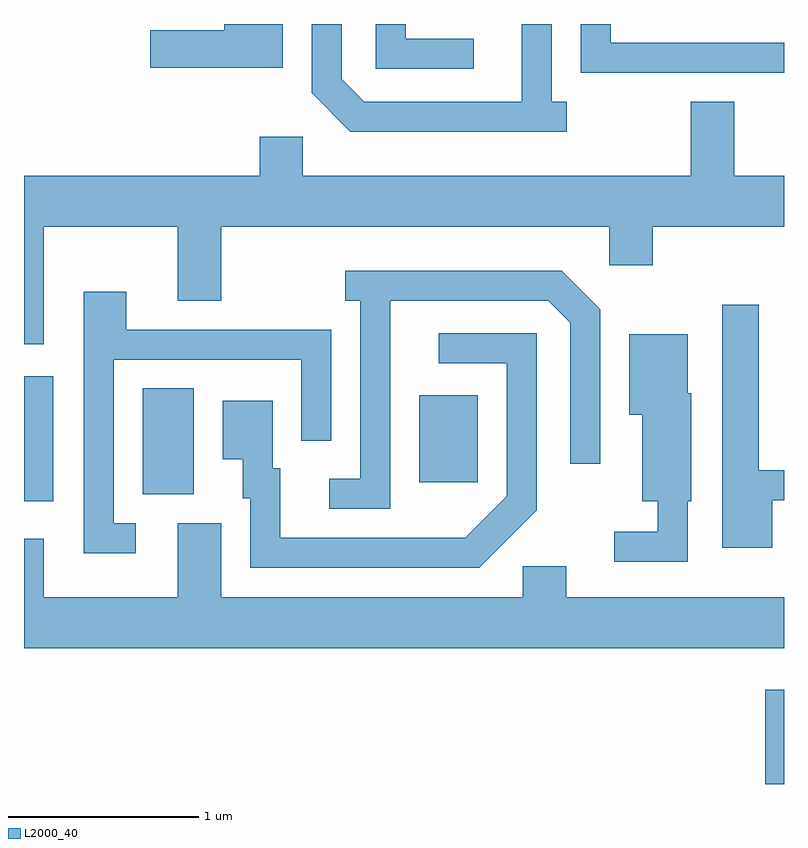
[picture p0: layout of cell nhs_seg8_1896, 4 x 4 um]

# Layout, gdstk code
import gdstk
lib = gdstk.Library(unit=1e-6, precision=1e-09)
def R(c, l, rs):  # rectangles x0, y0, x1, y1
    for r in rs: c.add(gdstk.rectangle(r[:2], r[2:], *l))
def P(c, l, *ps):  # polygons
    for p in ps: c.add(gdstk.Polygon(p, *l))
L2000_40 = (2000, 40)

nhs_seg8_1896 = lib.new_cell('nhs_seg8_1896')
R(nhs_seg8_1896, L2000_40, [(245.511,1862.342,245.611,1862.838), (241.611,1863.831,241.764,1864.489), (242.236,1863.866,242.504,1864.424), (243.691,1863.931,243.999,1864.389)])
P(nhs_seg8_1896, L2000_40, [(243.978,1866.264),(243.619,1866.264),(243.619,1866.342),(243.461,1866.342),(243.461,1866.106),(243.978,1866.106)],
  [(242.974,1866.342),(242.666,1866.342),(242.666,1866.309),(242.276,1866.309),(242.276,1866.111),(242.974,1866.111)],
  [(244.468,1865.934),(244.389,1865.934),(244.389,1866.342),(244.231,1866.342),(244.231,1865.934),(243.402,1865.934),(243.284,1866.052),(243.284,1866.342),(243.126,1866.342),(243.126,1865.979),(243.329,1865.776),(244.468,1865.776)],
  [(245.611,1866.244),(244.699,1866.244),(244.699,1866.342),(244.541,1866.342),(244.541,1866.086),(245.611,1866.086)],
  [(241.714,1865.276),(242.421,1865.276),(242.421,1864.886),(242.649,1864.886),(242.649,1865.276),(244.691,1865.276),(244.691,1865.071),(244.919,1865.071),(244.919,1865.276),(245.611,1865.276),(245.611,1865.544),(245.349,1865.544),(245.349,1865.934),(245.121,1865.934),(245.121,1865.544),(243.079,1865.544),(243.079,1865.749),(242.851,1865.749),(242.851,1865.544),(241.611,1865.544),(241.611,1864.656),(241.714,1864.656)],
  [(243.539,1864.886),(244.369,1864.886),(244.486,1864.769),(244.486,1864.028),(244.644,1864.028),(244.644,1864.842),(244.442,1865.044),(243.303,1865.044),(243.303,1864.886),(243.381,1864.886),(243.381,1863.949),(243.218,1863.949),(243.218,1863.791),(243.539,1863.791)],
  [(242.198,1863.714),(242.084,1863.714),(242.084,1864.576),(243.071,1864.576),(243.071,1864.148),(243.229,1864.148),(243.229,1864.734),(242.149,1864.734),(242.149,1864.934),(241.926,1864.934),(241.926,1863.556),(242.198,1863.556)],
  [(245.549,1863.836),(245.611,1863.836),(245.611,1863.994),(245.479,1863.994),(245.479,1864.864),(245.286,1864.864),(245.286,1863.586),(245.549,1863.586)],
  [(244.309,1863.784),(244.309,1864.714),(243.793,1864.714),(243.793,1864.556),(244.151,1864.556),(244.151,1863.857),(243.934,1863.639),(242.959,1863.639),(242.959,1864.004),(242.919,1864.004),(242.919,1864.359),(242.656,1864.359),(242.656,1864.051),(242.761,1864.051),(242.761,1863.846),(242.801,1863.846),(242.801,1863.481),(244.007,1863.481)],
  [(245.104,1863.831),(245.124,1863.831),(245.124,1864.399),(245.104,1864.399),(245.104,1864.709),(244.796,1864.709),(244.796,1864.286),(244.866,1864.286),(244.866,1863.831),(244.946,1863.831),(244.946,1863.669),(244.718,1863.669),(244.718,1863.511),(245.104,1863.511)],
  [(245.611,1863.324),(244.464,1863.324),(244.464,1863.489),(244.236,1863.489),(244.236,1863.324),(242.649,1863.324),(242.649,1863.714),(242.421,1863.714),(242.421,1863.324),(241.714,1863.324),(241.714,1863.634),(241.611,1863.634),(241.611,1863.056),(245.611,1863.056)])

lib.write_gds('nhs_seg8_1896.gds')
